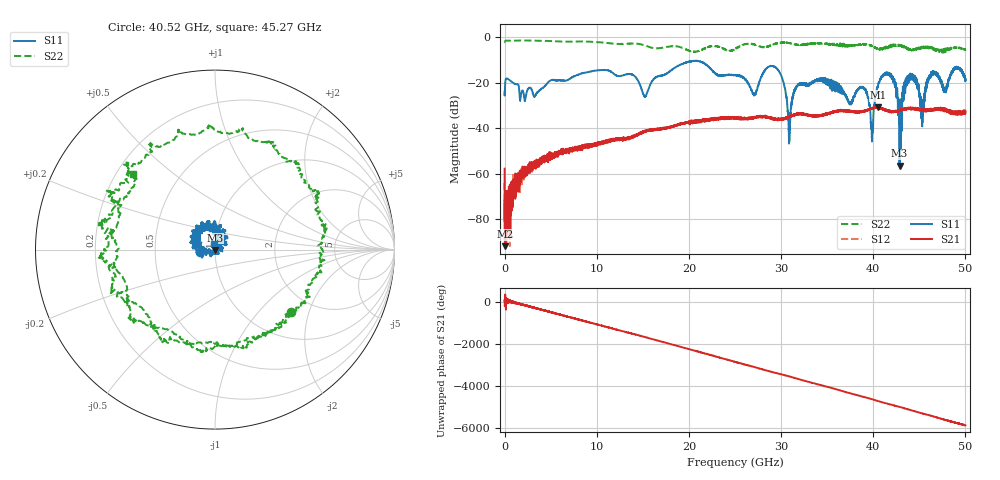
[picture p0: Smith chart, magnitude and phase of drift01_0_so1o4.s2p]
!Created with skrf (http://scikit-rf.org).
# Hz S RI R 50.0
!freq ReS11 ImS11 ReS21 ImS21 ReS12 ImS12 ReS22 ImS22
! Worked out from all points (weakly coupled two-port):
!   10001 points, 300 kHz to 50 GHz, reference 50 ohm
!   highest |S21| = -30.65 dB at 40.53 GHz (marker M1); lowest = -91.8 dB at 65.3 MHz (marker M2)
!   lowest |S11| = -56.4 dB at 42.86 GHz (marker M3), VSWR 1.00, Z = 50 - j0.151 ohm
!   |S11| at or under -10 dB: start of sweep to end of sweep
!   |S22| runs from -6.8 to -1.4 dB; largest |S21 - S12| = 0.004
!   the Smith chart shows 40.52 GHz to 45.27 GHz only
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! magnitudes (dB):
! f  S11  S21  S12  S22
! 300 kHz  -23.9  -57.7  -64.0  -2.1
! 65.3 MHz  -19.8  -91.8  -83.1  -1.6
! 3.255 GHz  -26.0  -55.6  -55.8  -1.5
! 8.335 GHz  -15.9  -47.9  -48.1  -1.8
! 13.78 GHz  -16.2  -43.8  -44.2  -2.7
! 15.23 GHz  -25.9  -41.3  -41.1  -3.5
! 16.67 GHz  -17.1  -40.4  -40.3  -4.8
! 25 GHz  -16.6  -35.4  -35.5  -5.2
! 27.11 GHz  -25.1  -35.4  -35.4  -3.2
! 29.41 GHz  -13.2  -35.9  -36.1  -2.7
! 30.9 GHz  -41.7  -35.0  -34.9  -2.5
! 31.66 GHz  -21.6  -33.6  -33.9  -3.2
! 33.34 GHz  -19.9  -34.4  -34.4  -2.7
! 38.91 GHz  -22.3  -32.4  -32.8  -3.0
! 39.83 GHz  -39.8  -31.4  -31.2  -3.8
! 40.53 GHz  -21.1  -30.7  -31.0  -5.2
! 41.67 GHz  -16.3  -32.4  -32.4  -4.4
! 42.86 GHz  -56.4  -31.9  -32.1  -3.4
! 43.96 GHz  -18.0  -31.1  -31.2  -5.1
! 45.31 GHz  -39.1  -31.6  -31.8  -4.4
! 46.44 GHz  -15.5  -31.5  -31.9  -5.0
! 50 GHz  -18.3  -32.3  -32.4  -5.4
